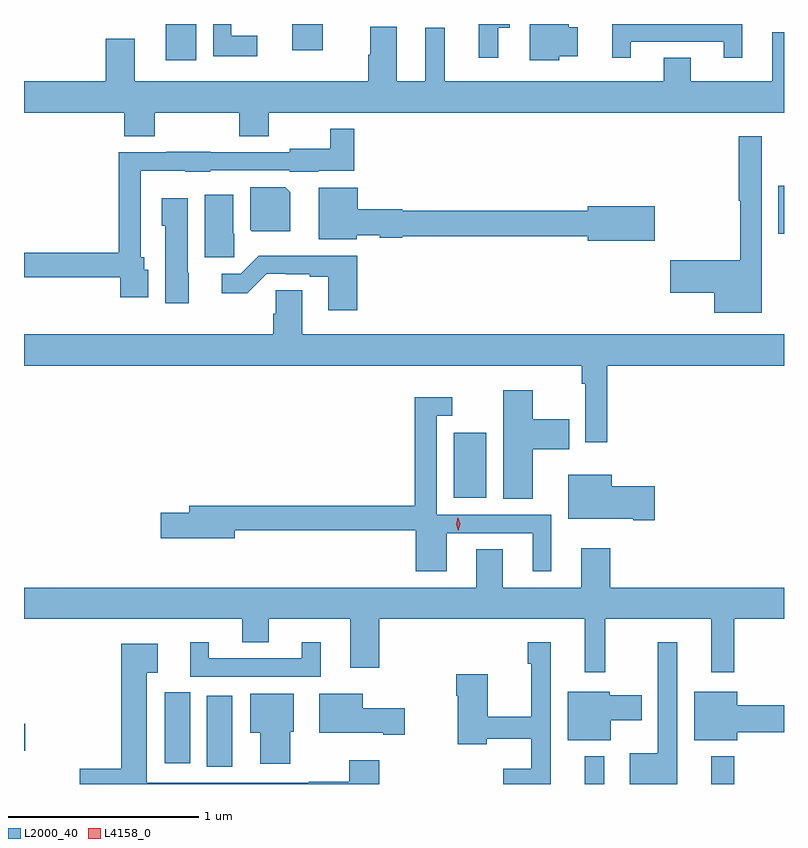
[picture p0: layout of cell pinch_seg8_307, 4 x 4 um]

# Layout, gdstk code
import gdstk
lib = gdstk.Library(unit=1e-6, precision=1e-09)
def R(c, l, rs):  # rectangles x0, y0, x1, y1
    for r in rs: c.add(gdstk.rectangle(r[:2], r[2:], *l))
def P(c, l, *ps):  # polygons
    for p in ps: c.add(gdstk.Polygon(p, *l))
L2000_40 = (2000, 40)
L4158_0 = (4158, 0)

pinch_seg8_307 = lib.new_cell('pinch_seg8_307')
R(pinch_seg8_307, L2000_40, [(566.945,1140.938,567.049,1141.084), (567.611,1140.938,567.733,1141.084), (564.956,1141.03,565.09,1141.402), (564.734,1141.047,564.868,1141.422), (563.994,1141.114,564.001,1141.256), (566.255,1142.444,566.428,1142.788), (567.965,1143.833,567.994,1144.087), (564.74,1144.746,564.901,1144.938), (565.406,1144.8,565.567,1144.938)])
P(pinch_seg8_307, L2000_40, [(566.491,1144.919),(566.551,1144.919),(566.551,1144.938),(566.387,1144.938),(566.387,1144.761),(566.491,1144.761)],
  [(566.811,1144.769),(566.908,1144.769),(566.908,1144.922),(566.86,1144.922),(566.86,1144.938),(566.657,1144.938),(566.657,1144.748),(566.811,1144.748)],
  [(567.187,1144.845),(567.677,1144.845),(567.677,1144.761),(567.775,1144.761),(567.775,1144.938),(567.089,1144.938),(567.089,1144.761),(567.187,1144.761)],
  [(565.222,1144.876),(565.086,1144.876),(565.086,1144.938),(564.99,1144.938),(564.99,1144.769),(565.222,1144.769)],
  [(564.521,1144.348),(564.681,1144.348),(564.681,1144.472),(565.126,1144.472),(565.126,1144.348),(565.281,1144.348),(565.281,1144.472),(567.994,1144.472),(567.994,1144.894),(567.932,1144.894),(567.932,1144.636),(567.502,1144.636),(567.502,1144.76),(567.362,1144.76),(567.362,1144.636),(566.209,1144.636),(566.209,1144.918),(566.105,1144.918),(566.105,1144.636),(565.957,1144.636),(565.957,1144.924),(565.817,1144.924),(565.817,1144.775),(565.805,1144.775),(565.805,1144.636),(564.577,1144.636),(564.577,1144.861),(564.425,1144.861),(564.425,1144.636),(563.994,1144.636),(563.994,1144.472),(564.521,1144.472)],
  [(564.649,1143.645),(564.628,1143.645),(564.628,1143.711),(564.609,1143.711),(564.609,1144.166),(564.843,1144.166),(564.843,1144.16),(564.975,1144.16),(564.975,1144.167),(565.392,1144.167),(565.392,1144.16),(565.542,1144.16),(565.542,1144.166),(565.733,1144.166),(565.733,1144.387),(565.605,1144.387),(565.605,1144.282),(565.392,1144.282),(565.392,1144.263),(564.975,1144.263),(564.975,1144.265),(564.743,1144.265),(564.743,1144.263),(564.493,1144.263),(564.493,1143.734),(563.994,1143.734),(563.994,1143.606),(564.5,1143.606),(564.5,1143.501),(564.649,1143.501)],
  [(567.877,1144.348),(567.756,1144.348),(567.756,1144.007),(567.763,1144.007),(567.763,1143.695),(567.396,1143.695),(567.396,1143.524),(567.626,1143.524),(567.626,1143.419),(567.877,1143.419)],
  [(565.396,1144.052),(565.37,1144.078),(565.184,1144.078),(565.184,1143.856),(565.192,1143.848),(565.396,1143.848)],
  [(567.313,1143.98),(566.96,1143.98),(566.96,1143.956),(565.986,1143.956),(565.986,1143.964),(565.75,1143.964),(565.75,1144.076),(565.544,1144.076),(565.544,1143.806),(565.746,1143.806),(565.746,1143.827),(565.866,1143.827),(565.866,1143.812),(565.986,1143.812),(565.986,1143.82),(566.96,1143.82),(566.96,1143.797),(567.313,1143.797)],
  [(565.1,1143.834),(565.096,1143.834),(565.096,1144.039),(564.944,1144.039),(564.944,1143.711),(565.1,1143.711)],
  [(564.862,1143.63),(564.856,1143.63),(564.856,1144.021),(564.719,1144.021),(564.719,1143.876),(564.737,1143.876),(564.737,1143.468),(564.862,1143.468)],
  [(565.748,1143.719),(565.229,1143.719),(565.134,1143.624),(565.035,1143.624),(565.035,1143.522),(565.17,1143.522),(565.272,1143.624),(565.372,1143.624),(565.372,1143.621),(565.499,1143.621),(565.499,1143.609),(565.595,1143.609),(565.595,1143.432),(565.748,1143.432)],
  [(567.065,1143.14),(567.994,1143.14),(567.994,1143.304),(565.459,1143.304),(565.459,1143.536),(565.32,1143.536),(565.32,1143.414),(565.307,1143.414),(565.307,1143.304),(563.994,1143.304),(563.994,1143.14),(566.929,1143.14),(566.929,1143.044),(566.949,1143.044),(566.949,1142.736),(567.065,1142.736)],
  [(566.671,1142.699),(566.864,1142.699),(566.864,1142.857),(566.671,1142.857),(566.671,1143.01),(566.516,1143.01),(566.516,1142.44),(566.671,1142.44)],
  [(566.218,1142.259),(566.672,1142.259),(566.672,1142.058),(566.77,1142.058),(566.77,1142.355),(566.166,1142.355),(566.166,1142.877),(566.248,1142.877),(566.248,1142.974),(566.05,1142.974),(566.05,1142.402),(564.863,1142.402),(564.863,1142.366),(564.714,1142.366),(564.714,1142.231),(565.102,1142.231),(565.102,1142.274),(566.057,1142.274),(566.057,1142.058),(566.218,1142.058)],
  [(567.313,1142.504),(567.088,1142.504),(567.088,1142.566),(566.858,1142.566),(566.858,1142.333),(567.2,1142.333),(567.2,1142.326),(567.313,1142.326)],
  [(567.052,1141.808),(567.611,1141.808),(567.611,1141.527),(567.733,1141.527),(567.733,1141.808),(567.994,1141.808),(567.994,1141.972),(567.08,1141.972),(567.08,1142.179),(566.927,1142.179),(566.927,1141.972),(566.515,1141.972),(566.515,1142.174),(566.375,1142.174),(566.375,1141.972),(563.994,1141.972),(563.994,1141.808),(565.142,1141.808),(565.142,1141.684),(565.282,1141.684),(565.282,1141.808),(565.712,1141.808),(565.712,1141.551),(565.865,1141.551),(565.865,1141.808),(566.945,1141.808),(566.945,1141.527),(567.052,1141.527)],
  [(565.555,1141.684),(565.457,1141.684),(565.457,1141.599),(564.967,1141.599),(564.967,1141.684),(564.869,1141.684),(564.869,1141.503),(565.555,1141.503)],
  [(567.433,1141.684),(567.329,1141.684),(567.329,1141.099),(567.182,1141.099),(567.182,1140.938),(567.433,1140.938)],
  [(566.767,1141.684),(566.646,1141.684),(566.646,1141.571),(566.663,1141.571),(566.663,1141.292),(566.434,1141.292),(566.434,1141.516),(566.269,1141.516),(566.269,1141.403),(566.276,1141.403),(566.276,1141.148),(566.43,1141.148),(566.43,1141.175),(566.663,1141.175),(566.663,1141.018),(566.516,1141.018),(566.516,1140.938),(566.767,1140.938)],
  [(565.865,1141.063),(565.705,1141.063),(565.705,1140.95),(565.492,1140.95),(565.492,1140.945),(564.64,1140.945),(564.64,1141.523),(564.697,1141.523),(564.697,1141.675),(564.506,1141.675),(564.506,1141.019),(564.288,1141.019),(564.288,1140.938),(565.865,1140.938)],
  [(567.748,1141.211),(567.994,1141.211),(567.994,1141.353),(567.748,1141.353),(567.748,1141.423),(567.521,1141.423),(567.521,1141.169),(567.748,1141.169)],
  [(567.082,1141.274),(567.244,1141.274),(567.244,1141.404),(567.078,1141.404),(567.078,1141.423),(566.855,1141.423),(566.855,1141.169),(567.082,1141.169)],
  [(565.999,1141.338),(565.777,1141.338),(565.777,1141.414),(565.547,1141.414),(565.547,1141.208),(565.886,1141.208),(565.886,1141.196),(565.999,1141.196)],
  [(565.396,1141.212),(565.414,1141.212),(565.414,1141.414),(565.184,1141.414),(565.184,1141.208),(565.238,1141.208),(565.238,1141.044),(565.396,1141.044)])
P(pinch_seg8_307, L4158_0, [(566.28,1142.271),(566.28,1142.271),(566.269,1142.306),(566.278,1142.343),(566.278,1142.343),(566.278,1142.343),(566.289,1142.307),(566.28,1142.271)])

lib.write_gds('pinch_seg8_307.gds')
